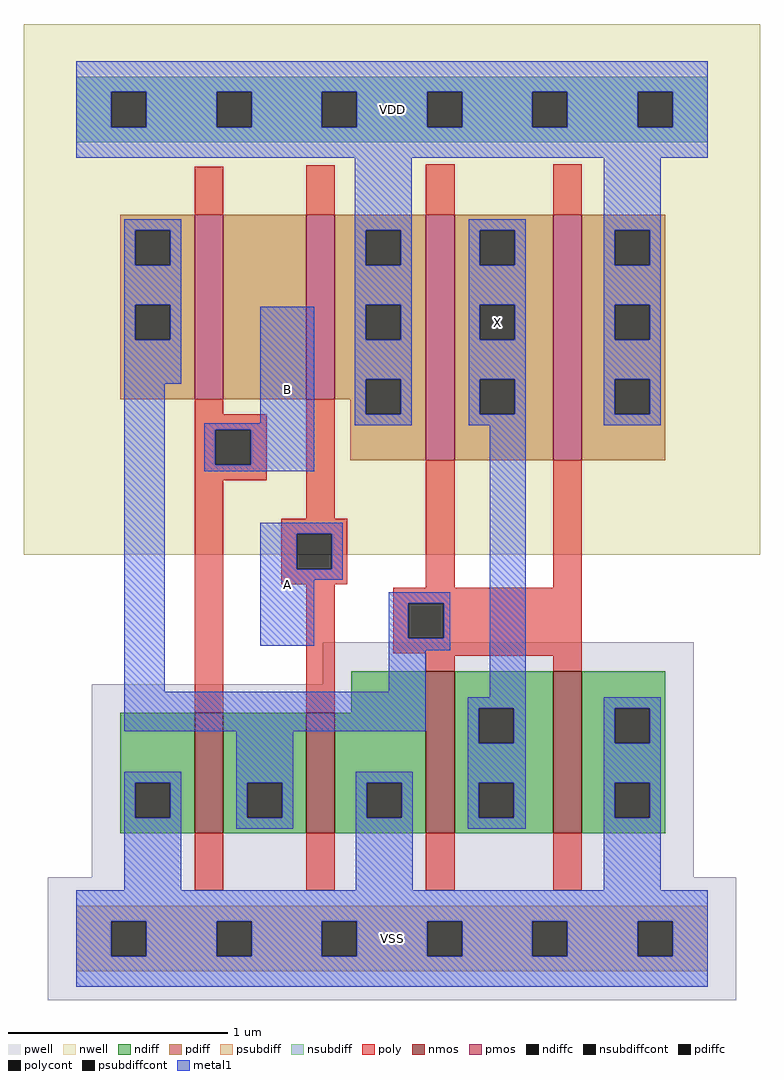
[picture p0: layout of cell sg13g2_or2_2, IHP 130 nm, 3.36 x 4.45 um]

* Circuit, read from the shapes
.subckt sg13g2_or2_2 B VSS A X VDD
XM1 n1 B VSS VSS sg13_lv_nmos w=0.55u l=0.13u
XM2 VSS A n1 VSS sg13_lv_nmos w=0.55u l=0.13u
XM3 X n1 VSS VSS sg13_lv_nmos w=0.74u l=0.13u m=2
XM4 n2 B n1 VDD sg13_lv_pmos w=0.84u l=0.13u
XM5 VDD A n2 VDD sg13_lv_pmos w=0.84u l=0.13u
XM6 X n1 VDD VDD sg13_lv_pmos w=1.12u l=0.13u m=2
.ends

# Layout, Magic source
magic
tech ihp-sg13g2
magscale 1 2
<< nwell >>
rect -48 350 624 834
<< pwell >>
rect 225 232 563 270
rect 14 56 563 232
rect -26 -56 602 56
<< nmos >>
rect 108 96 134 206
rect 210 96 236 206
rect 319 96 345 244
rect 435 96 461 244
<< pmos >>
rect 108 492 134 660
rect 210 492 236 660
rect 319 436 345 660
rect 435 436 461 660
<< ndiff >>
rect 251 206 319 244
rect 40 142 108 206
rect 40 110 54 142
rect 86 110 108 142
rect 40 96 108 110
rect 134 142 210 206
rect 134 110 156 142
rect 188 110 210 142
rect 134 96 210 110
rect 236 142 319 206
rect 236 110 265 142
rect 297 110 319 142
rect 236 96 319 110
rect 345 210 435 244
rect 345 178 367 210
rect 399 178 435 210
rect 345 142 435 178
rect 345 110 367 142
rect 399 110 435 142
rect 345 96 435 110
rect 461 210 537 244
rect 461 178 491 210
rect 523 178 537 210
rect 461 142 537 178
rect 461 110 491 142
rect 523 110 537 142
rect 461 96 537 110
<< pdiff >>
rect 40 646 108 660
rect 40 614 54 646
rect 86 614 108 646
rect 40 578 108 614
rect 40 546 54 578
rect 86 546 108 578
rect 40 492 108 546
rect 134 492 210 660
rect 236 646 319 660
rect 236 614 264 646
rect 296 614 319 646
rect 236 578 319 614
rect 236 546 264 578
rect 296 546 319 578
rect 236 510 319 546
rect 236 492 264 510
rect 250 478 264 492
rect 296 478 319 510
rect 250 436 319 478
rect 345 646 435 660
rect 345 614 368 646
rect 400 614 435 646
rect 345 578 435 614
rect 345 546 368 578
rect 400 546 435 578
rect 345 510 435 546
rect 345 478 368 510
rect 400 478 435 510
rect 345 436 435 478
rect 461 646 537 660
rect 461 614 491 646
rect 523 614 537 646
rect 461 578 537 614
rect 461 546 491 578
rect 523 546 537 578
rect 461 510 537 546
rect 461 478 491 510
rect 523 478 537 510
rect 461 436 537 478
<< ndiffc >>
rect 54 110 86 142
rect 156 110 188 142
rect 265 110 297 142
rect 367 178 399 210
rect 367 110 399 142
rect 491 178 523 210
rect 491 110 523 142
<< pdiffc >>
rect 54 614 86 646
rect 54 546 86 578
rect 264 614 296 646
rect 264 546 296 578
rect 264 478 296 510
rect 368 614 400 646
rect 368 546 400 578
rect 368 478 400 510
rect 491 614 523 646
rect 491 546 523 578
rect 491 478 523 510
<< psubdiff >>
rect 0 16 576 30
rect 0 -16 32 16
rect 64 -16 128 16
rect 160 -16 224 16
rect 256 -16 320 16
rect 352 -16 416 16
rect 448 -16 512 16
rect 544 -16 576 16
rect 0 -30 576 -16
<< nsubdiff >>
rect 0 772 576 786
rect 0 740 32 772
rect 64 740 128 772
rect 160 740 224 772
rect 256 740 320 772
rect 352 740 416 772
rect 448 740 512 772
rect 544 740 576 772
rect 0 726 576 740
<< psubdiffcont >>
rect 32 -16 64 16
rect 128 -16 160 16
rect 224 -16 256 16
rect 320 -16 352 16
rect 416 -16 448 16
rect 512 -16 544 16
<< nsubdiffcont >>
rect 32 740 64 772
rect 128 740 160 772
rect 224 740 256 772
rect 320 740 352 772
rect 416 740 448 772
rect 512 740 544 772
<< poly >>
rect 108 660 134 704
rect 210 660 236 705
rect 319 660 345 706
rect 435 660 461 706
rect 108 478 134 492
rect 108 464 174 478
rect 108 432 127 464
rect 159 432 174 464
rect 108 418 174 432
rect 108 206 134 418
rect 210 383 236 492
rect 187 369 247 383
rect 187 337 201 369
rect 233 337 247 369
rect 187 323 247 337
rect 210 206 236 323
rect 319 320 345 436
rect 435 320 461 436
rect 289 306 461 320
rect 289 274 303 306
rect 335 274 461 306
rect 289 260 461 274
rect 319 258 461 260
rect 319 244 345 258
rect 435 244 461 258
rect 108 44 134 96
rect 210 44 236 96
rect 319 44 345 96
rect 435 44 461 96
<< polycont >>
rect 127 432 159 464
rect 201 337 233 369
rect 303 274 335 306
<< metal1 >>
rect 0 772 576 800
rect 0 740 32 772
rect 64 740 128 772
rect 160 740 224 772
rect 256 740 320 772
rect 352 740 416 772
rect 448 740 512 772
rect 544 740 576 772
rect 0 712 576 740
rect 44 646 96 656
rect 44 614 54 646
rect 86 614 96 646
rect 44 578 96 614
rect 44 546 54 578
rect 86 546 96 578
rect 254 646 306 712
rect 254 614 264 646
rect 296 614 306 646
rect 254 578 306 614
rect 44 506 96 546
rect 44 225 81 506
rect 168 470 217 576
rect 117 464 217 470
rect 254 546 264 578
rect 296 546 306 578
rect 254 510 306 546
rect 254 478 264 510
rect 296 478 306 510
rect 254 468 306 478
rect 358 646 410 656
rect 358 614 368 646
rect 400 614 410 646
rect 358 578 410 614
rect 358 546 368 578
rect 400 546 410 578
rect 358 510 410 546
rect 358 478 368 510
rect 400 478 410 510
rect 358 468 410 478
rect 481 646 533 712
rect 481 614 491 646
rect 523 614 533 646
rect 481 578 533 614
rect 481 546 491 578
rect 523 546 533 578
rect 481 510 533 546
rect 481 478 491 510
rect 523 478 533 510
rect 481 468 533 478
rect 117 432 127 464
rect 159 432 217 464
rect 117 426 217 432
rect 168 369 243 379
rect 168 337 201 369
rect 233 337 243 369
rect 168 327 243 337
rect 168 267 217 327
rect 285 306 341 316
rect 285 274 303 306
rect 335 274 341 306
rect 285 263 341 274
rect 285 225 319 263
rect 44 189 319 225
rect 377 220 410 468
rect 357 210 410 220
rect 44 142 96 152
rect 44 110 54 142
rect 86 110 96 142
rect 44 44 96 110
rect 146 142 198 189
rect 357 178 367 210
rect 399 178 410 210
rect 146 110 156 142
rect 188 110 198 142
rect 146 100 198 110
rect 255 142 307 152
rect 255 110 265 142
rect 297 110 307 142
rect 255 44 307 110
rect 357 142 410 178
rect 357 110 367 142
rect 399 110 410 142
rect 357 100 410 110
rect 481 210 533 220
rect 481 178 491 210
rect 523 178 533 210
rect 481 142 533 178
rect 481 110 491 142
rect 523 110 533 142
rect 481 44 533 110
rect 0 16 576 44
rect 0 -16 32 16
rect 64 -16 128 16
rect 160 -16 224 16
rect 256 -16 320 16
rect 352 -16 416 16
rect 448 -16 512 16
rect 544 -16 576 16
rect 0 -44 576 -16
<< labels >>
flabel metal1 s 168 426 217 576 0 FreeSans 400 0 0 0 B
port 2 nsew
flabel metal1 s 0 -44 576 44 0 FreeSans 400 0 0 0 VSS
port 3 nsew
flabel metal1 s 168 267 217 379 0 FreeSans 400 0 0 0 A
port 4 nsew
flabel metal1 s 358 468 410 656 0 FreeSans 400 0 0 0 X
port 5 nsew
flabel metal1 s 0 712 576 800 0 FreeSans 400 0 0 0 VDD
port 6 nsew
<< properties >>
string FIXED_BBOX 0 0 576 756
string GDS_END 464398
string GDS_FILE sg13g2_stdcell.gds
string GDS_START 459992
<< end >>
